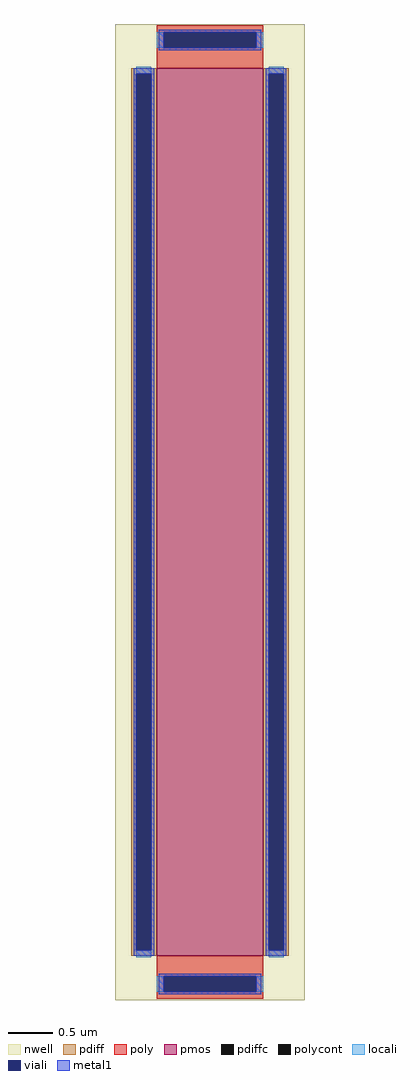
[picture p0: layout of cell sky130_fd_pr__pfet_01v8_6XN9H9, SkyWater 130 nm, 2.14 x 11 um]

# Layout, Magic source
magic
tech sky130A
magscale 1 2
<< nwell >>
rect -214 -1100 214 1100
<< pmos >>
rect -120 -1000 120 1000
<< pdiff >>
rect -178 988 -120 1000
rect -178 -988 -166 988
rect -132 -988 -120 988
rect -178 -1000 -120 -988
rect 120 988 178 1000
rect 120 -988 132 988
rect 166 -988 178 988
rect 120 -1000 178 -988
<< pdiffc >>
rect -166 -988 -132 988
rect 132 -988 166 988
<< poly >>
rect -120 1081 120 1097
rect -120 1047 -104 1081
rect 104 1047 120 1081
rect -120 1000 120 1047
rect -120 -1047 120 -1000
rect -120 -1081 -104 -1047
rect 104 -1081 120 -1047
rect -120 -1097 120 -1081
<< polycont >>
rect -104 1047 104 1081
rect -104 -1081 104 -1047
<< locali >>
rect -120 1047 -104 1081
rect 104 1047 120 1081
rect -166 988 -132 1004
rect -166 -1004 -132 -988
rect 132 988 166 1004
rect 132 -1004 166 -988
rect -120 -1081 -104 -1047
rect 104 -1081 120 -1047
<< viali >>
rect -104 1047 104 1081
rect -166 -988 -132 988
rect 132 -988 166 988
rect -104 -1081 104 -1047
<< metal1 >>
rect -116 1081 116 1087
rect -116 1047 -104 1081
rect 104 1047 116 1081
rect -116 1041 116 1047
rect -172 988 -126 1000
rect -172 -988 -166 988
rect -132 -988 -126 988
rect -172 -1000 -126 -988
rect 126 988 172 1000
rect 126 -988 132 988
rect 166 -988 172 988
rect 126 -1000 172 -988
rect -116 -1047 116 -1041
rect -116 -1081 -104 -1047
rect 104 -1081 116 -1047
rect -116 -1087 116 -1081
<< properties >>
string gencell sky130_fd_pr__pfet_01v8
string library sky130
string parameters w 10 l 1.2 m 1 nf 1 diffcov 100 polycov 100 guard 0 glc 1 grc 1 gtc 1 gbc 1 tbcov 100 rlcov 100 topc 1 botc 1 poverlap 0 doverlap 1 lmin 0.15 wmin 0.42 compatible {sky130_fd_pr__pfet_01v8  sky130_fd_pr__pfet_01v8_lvt sky130_fd_pr__pfet_01v8_hvt  sky130_fd_pr__pfet_g5v0d10v5} full_metal 1 viasrc 100 viadrn 100 viagate 100 viagb 0 viagr 0 viagl 0 viagt 0
<< end >>
